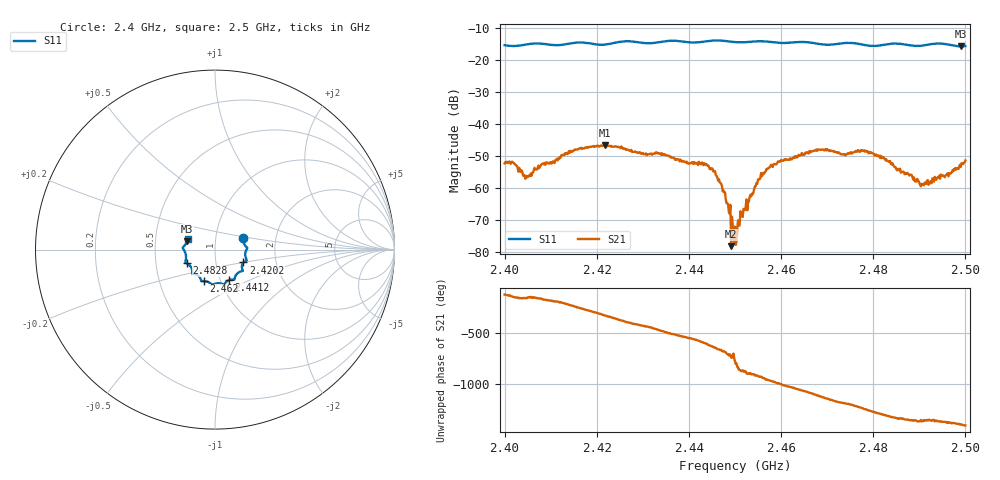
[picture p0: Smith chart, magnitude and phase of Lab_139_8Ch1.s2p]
# Hz S RI R 50
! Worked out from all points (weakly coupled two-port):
!   601 points, 2.4 GHz to 2.5 GHz, reference 50 ohm
!   highest |S21| = -46.71 dB at 2.4218 GHz (marker M1); lowest = -78.2 dB at 2.4492 GHz (marker M2)
!   lowest |S11| = -15.8 dB at 2.499 GHz (marker M3), VSWR 1.39, Z = 36.4 + j3.54 ohm
!   |S11| at or under -10 dB: start of sweep to end of sweep
!   S12 and S22 are empty: the file has one direction only
!   S11 on the Smith chart (normalised r, x): 2.4 GHz: 1.36, +0.17; 2.4202 GHz: 1.36, -0.20; 2.4412 GHz: 1.09, -0.39; 2.462 GHz: 0.84, -0.30; 2.4828 GHz: 0.72, -0.11; 2.5 GHz: 0.73, +0.09
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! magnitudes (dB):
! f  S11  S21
! 2.4 GHz  -15.4  -52.3
! 2.402 GHz  -15.7  -52.3
! 2.405 GHz  -15.1  -56.6
! 2.4167 GHz  -14.6  -47.5
! 2.4202 GHz  -15.2  -46.8
! 2.4218 GHz  -15.2  -46.7
! 2.4333 GHz  -14.5  -49.1
! 2.4412 GHz  -14.6  -51.9
! 2.4455 GHz  -14.0  -54.8
! 2.4473 GHz  -14.0  -61.1
! 2.4492 GHz  -14.3  -78.2
! 2.45 GHz  -14.4  -72.1
! 2.4517 GHz  -14.5  -69.1
! 2.4555 GHz  -14.2  -56.9
! 2.462 GHz  -14.6  -50.7
! 2.4667 GHz  -14.6  -48.6
! 2.4778 GHz  -15.3  -48.4
! 2.4828 GHz  -15.1  -51.1
! 2.4833 GHz  -15.0  -51.8
! 2.4905 GHz  -15.6  -58.7
! 2.499 GHz  -15.8  -53.5
! 2.5 GHz  -15.7  -51.4
